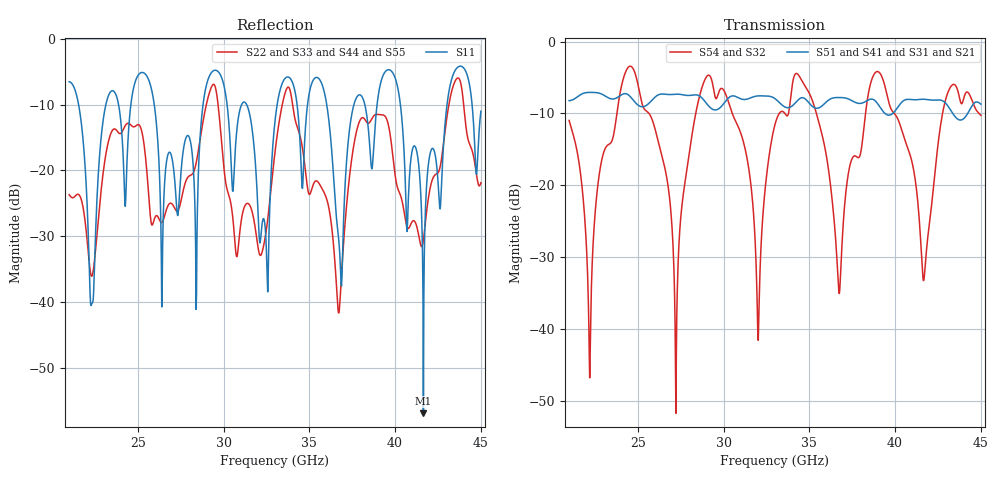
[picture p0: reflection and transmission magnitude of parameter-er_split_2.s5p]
! Created Mon Jun 10 12:45:58 2024
# hz S ma R 50
! 5 Port Network Data from SP1.SP block
! freq  magS11  angS11  magS12  angS12  magS13  angS13  magS14  angS14
!  magS15  angS15
!  magS21  angS21  magS22  angS22  magS23  angS23
!  magS24  angS24  magS25  angS25
!  magS31  angS31  magS32  angS32
!  magS33  angS33  magS34  angS34  magS35  angS35
!  magS41  angS41
!  magS42  angS42  magS43  angS43  magS44  angS44  magS45  angS45
!  magS51  angS51  magS52  angS52  magS53  angS53  magS54  angS54
!  magS55  angS55
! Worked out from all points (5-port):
!   961 points, 21 GHz to 45 GHz, reference 50 ohm
!   strongest paths, dB at 21 GHz, 27 GHz, 33 GHz, 39 GHz, 45 GHz:
!     S51: -8.2, -7.4, -7.9, -8.7, -8.7
!     S41: -8.2, -7.4, -7.9, -8.7, -8.7
!     S31: -8.2, -7.4, -7.9, -8.7, -8.7
!     S21: -8.2, -7.4, -7.9, -8.7, -8.7
!     S54: -11.0, -25.9, -11.5, -4.2, -10.3
!     S32: -11.0, -25.9, -11.5, -4.2, -10.3
!   lowest |S11| = -56.9 dB at 41.65 GHz (marker M1), VSWR 1.00, Z = 49.9 + j0.0137 ohm
!   |S11| at or under -10 dB: 25.96 GHz to 28.81 GHz (2.845 GHz wide, 10.4 % of centre); 31.35 GHz to 33.13 GHz (1.781 GHz wide, 5.52 % of centre); 40.31 GHz to 43.03 GHz (2.719 GHz wide, 6.53 % of centre)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
